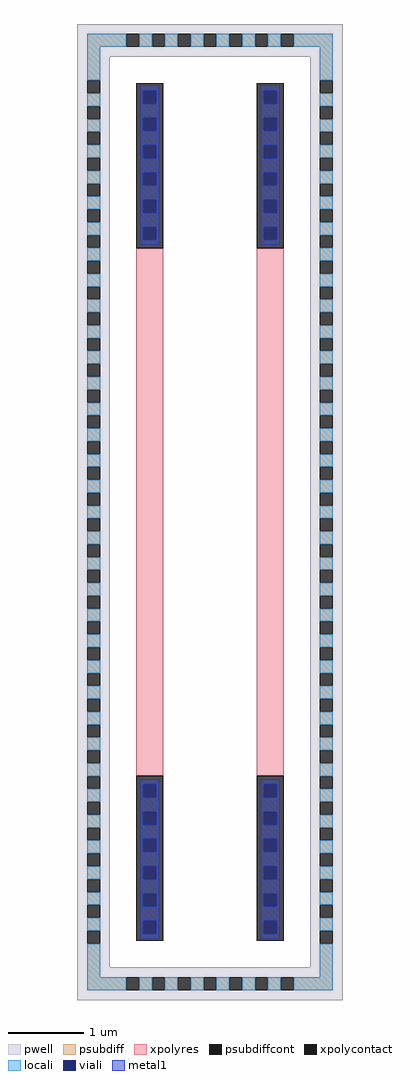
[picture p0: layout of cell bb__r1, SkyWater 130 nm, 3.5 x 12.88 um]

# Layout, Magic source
magic
tech sky130A
magscale 1 2
<< pwell >>
rect -350 1202 350 1288
rect -350 -1202 -264 1202
rect 264 -1202 350 1202
rect -350 -1288 350 -1202
<< psubdiff >>
rect -324 1228 -221 1262
rect -187 1228 -153 1262
rect -119 1228 -85 1262
rect -51 1228 -17 1262
rect 17 1228 51 1262
rect 85 1228 119 1262
rect 153 1228 187 1262
rect 221 1228 324 1262
rect -324 1139 -290 1228
rect 290 1139 324 1228
rect -324 1071 -290 1105
rect -324 1003 -290 1037
rect -324 935 -290 969
rect -324 867 -290 901
rect -324 799 -290 833
rect -324 731 -290 765
rect -324 663 -290 697
rect -324 595 -290 629
rect -324 527 -290 561
rect -324 459 -290 493
rect -324 391 -290 425
rect -324 323 -290 357
rect -324 255 -290 289
rect -324 187 -290 221
rect -324 119 -290 153
rect -324 51 -290 85
rect -324 -17 -290 17
rect -324 -85 -290 -51
rect -324 -153 -290 -119
rect -324 -221 -290 -187
rect -324 -289 -290 -255
rect -324 -357 -290 -323
rect -324 -425 -290 -391
rect -324 -493 -290 -459
rect -324 -561 -290 -527
rect -324 -629 -290 -595
rect -324 -697 -290 -663
rect -324 -765 -290 -731
rect -324 -833 -290 -799
rect -324 -901 -290 -867
rect -324 -969 -290 -935
rect -324 -1037 -290 -1003
rect -324 -1105 -290 -1071
rect 290 1071 324 1105
rect 290 1003 324 1037
rect 290 935 324 969
rect 290 867 324 901
rect 290 799 324 833
rect 290 731 324 765
rect 290 663 324 697
rect 290 595 324 629
rect 290 527 324 561
rect 290 459 324 493
rect 290 391 324 425
rect 290 323 324 357
rect 290 255 324 289
rect 290 187 324 221
rect 290 119 324 153
rect 290 51 324 85
rect 290 -17 324 17
rect 290 -85 324 -51
rect 290 -153 324 -119
rect 290 -221 324 -187
rect 290 -289 324 -255
rect 290 -357 324 -323
rect 290 -425 324 -391
rect 290 -493 324 -459
rect 290 -561 324 -527
rect 290 -629 324 -595
rect 290 -697 324 -663
rect 290 -765 324 -731
rect 290 -833 324 -799
rect 290 -901 324 -867
rect 290 -969 324 -935
rect 290 -1037 324 -1003
rect 290 -1105 324 -1071
rect -324 -1228 -290 -1139
rect 290 -1228 324 -1139
rect -324 -1262 -221 -1228
rect -187 -1262 -153 -1228
rect -119 -1262 -85 -1228
rect -51 -1262 -17 -1228
rect 17 -1262 51 -1228
rect 85 -1262 119 -1228
rect 153 -1262 187 -1228
rect 221 -1262 324 -1228
<< psubdiffcont >>
rect -221 1228 -187 1262
rect -153 1228 -119 1262
rect -85 1228 -51 1262
rect -17 1228 17 1262
rect 51 1228 85 1262
rect 119 1228 153 1262
rect 187 1228 221 1262
rect -324 1105 -290 1139
rect -324 1037 -290 1071
rect -324 969 -290 1003
rect -324 901 -290 935
rect -324 833 -290 867
rect -324 765 -290 799
rect -324 697 -290 731
rect -324 629 -290 663
rect -324 561 -290 595
rect -324 493 -290 527
rect -324 425 -290 459
rect -324 357 -290 391
rect -324 289 -290 323
rect -324 221 -290 255
rect -324 153 -290 187
rect -324 85 -290 119
rect -324 17 -290 51
rect -324 -51 -290 -17
rect -324 -119 -290 -85
rect -324 -187 -290 -153
rect -324 -255 -290 -221
rect -324 -323 -290 -289
rect -324 -391 -290 -357
rect -324 -459 -290 -425
rect -324 -527 -290 -493
rect -324 -595 -290 -561
rect -324 -663 -290 -629
rect -324 -731 -290 -697
rect -324 -799 -290 -765
rect -324 -867 -290 -833
rect -324 -935 -290 -901
rect -324 -1003 -290 -969
rect -324 -1071 -290 -1037
rect -324 -1139 -290 -1105
rect 290 1105 324 1139
rect 290 1037 324 1071
rect 290 969 324 1003
rect 290 901 324 935
rect 290 833 324 867
rect 290 765 324 799
rect 290 697 324 731
rect 290 629 324 663
rect 290 561 324 595
rect 290 493 324 527
rect 290 425 324 459
rect 290 357 324 391
rect 290 289 324 323
rect 290 221 324 255
rect 290 153 324 187
rect 290 85 324 119
rect 290 17 324 51
rect 290 -51 324 -17
rect 290 -119 324 -85
rect 290 -187 324 -153
rect 290 -255 324 -221
rect 290 -323 324 -289
rect 290 -391 324 -357
rect 290 -459 324 -425
rect 290 -527 324 -493
rect 290 -595 324 -561
rect 290 -663 324 -629
rect 290 -731 324 -697
rect 290 -799 324 -765
rect 290 -867 324 -833
rect 290 -935 324 -901
rect 290 -1003 324 -969
rect 290 -1071 324 -1037
rect 290 -1139 324 -1105
rect -221 -1262 -187 -1228
rect -153 -1262 -119 -1228
rect -85 -1262 -51 -1228
rect -17 -1262 17 -1228
rect 51 -1262 85 -1228
rect 119 -1262 153 -1228
rect 187 -1262 221 -1228
<< xpolycontact >>
rect -194 696 -124 1132
rect -194 -1132 -124 -696
rect 124 696 194 1132
rect 124 -1132 194 -696
<< xpolyres >>
rect -194 -696 -124 696
rect 124 -696 194 696
<< locali >>
rect -324 1228 -221 1262
rect -187 1228 -153 1262
rect -119 1228 -85 1262
rect -51 1228 -17 1262
rect 17 1228 51 1262
rect 85 1228 119 1262
rect 153 1228 187 1262
rect 221 1228 324 1262
rect -324 1139 -290 1228
rect 290 1139 324 1228
rect -324 1071 -290 1105
rect -324 1003 -290 1037
rect -324 935 -290 969
rect -324 867 -290 901
rect -324 799 -290 833
rect -324 731 -290 765
rect -324 663 -290 697
rect 290 1071 324 1105
rect 290 1003 324 1037
rect 290 935 324 969
rect 290 867 324 901
rect 290 799 324 833
rect 290 731 324 765
rect -324 595 -290 629
rect -324 527 -290 561
rect -324 459 -290 493
rect -324 391 -290 425
rect -324 323 -290 357
rect -324 255 -290 289
rect -324 187 -290 221
rect -324 119 -290 153
rect -324 51 -290 85
rect -324 -17 -290 17
rect -324 -85 -290 -51
rect -324 -153 -290 -119
rect -324 -221 -290 -187
rect -324 -289 -290 -255
rect -324 -357 -290 -323
rect -324 -425 -290 -391
rect -324 -493 -290 -459
rect -324 -561 -290 -527
rect -324 -629 -290 -595
rect -324 -697 -290 -663
rect 290 663 324 697
rect 290 595 324 629
rect 290 527 324 561
rect 290 459 324 493
rect 290 391 324 425
rect 290 323 324 357
rect 290 255 324 289
rect 290 187 324 221
rect 290 119 324 153
rect 290 51 324 85
rect 290 -17 324 17
rect 290 -85 324 -51
rect 290 -153 324 -119
rect 290 -221 324 -187
rect 290 -289 324 -255
rect 290 -357 324 -323
rect 290 -425 324 -391
rect 290 -493 324 -459
rect 290 -561 324 -527
rect 290 -629 324 -595
rect -324 -765 -290 -731
rect -324 -833 -290 -799
rect -324 -901 -290 -867
rect -324 -969 -290 -935
rect -324 -1037 -290 -1003
rect -324 -1105 -290 -1071
rect 290 -697 324 -663
rect 290 -765 324 -731
rect 290 -833 324 -799
rect 290 -901 324 -867
rect 290 -969 324 -935
rect 290 -1037 324 -1003
rect 290 -1105 324 -1071
rect -324 -1228 -290 -1139
rect 290 -1228 324 -1139
rect -324 -1262 -221 -1228
rect -187 -1262 -153 -1228
rect -119 -1262 -85 -1228
rect -51 -1262 -17 -1228
rect 17 -1262 51 -1228
rect 85 -1262 119 -1228
rect 153 -1262 187 -1228
rect 221 -1262 324 -1228
<< viali >>
rect -176 1078 -142 1112
rect -176 1006 -142 1040
rect -176 934 -142 968
rect -176 862 -142 896
rect -176 790 -142 824
rect -176 718 -142 752
rect 142 1078 176 1112
rect 142 1006 176 1040
rect 142 934 176 968
rect 142 862 176 896
rect 142 790 176 824
rect 142 718 176 752
rect -176 -753 -142 -719
rect -176 -825 -142 -791
rect -176 -897 -142 -863
rect -176 -969 -142 -935
rect -176 -1041 -142 -1007
rect -176 -1113 -142 -1079
rect 142 -753 176 -719
rect 142 -825 176 -791
rect 142 -897 176 -863
rect 142 -969 176 -935
rect 142 -1041 176 -1007
rect 142 -1113 176 -1079
<< metal1 >>
rect -184 1112 -134 1126
rect -184 1078 -176 1112
rect -142 1078 -134 1112
rect -184 1040 -134 1078
rect -184 1006 -176 1040
rect -142 1006 -134 1040
rect -184 968 -134 1006
rect -184 934 -176 968
rect -142 934 -134 968
rect -184 896 -134 934
rect -184 862 -176 896
rect -142 862 -134 896
rect -184 824 -134 862
rect -184 790 -176 824
rect -142 790 -134 824
rect -184 752 -134 790
rect -184 718 -176 752
rect -142 718 -134 752
rect -184 705 -134 718
rect 134 1112 184 1126
rect 134 1078 142 1112
rect 176 1078 184 1112
rect 134 1040 184 1078
rect 134 1006 142 1040
rect 176 1006 184 1040
rect 134 968 184 1006
rect 134 934 142 968
rect 176 934 184 968
rect 134 896 184 934
rect 134 862 142 896
rect 176 862 184 896
rect 134 824 184 862
rect 134 790 142 824
rect 176 790 184 824
rect 134 752 184 790
rect 134 718 142 752
rect 176 718 184 752
rect 134 705 184 718
rect -184 -719 -134 -705
rect -184 -753 -176 -719
rect -142 -753 -134 -719
rect -184 -791 -134 -753
rect -184 -825 -176 -791
rect -142 -825 -134 -791
rect -184 -863 -134 -825
rect -184 -897 -176 -863
rect -142 -897 -134 -863
rect -184 -935 -134 -897
rect -184 -969 -176 -935
rect -142 -969 -134 -935
rect -184 -1007 -134 -969
rect -184 -1041 -176 -1007
rect -142 -1041 -134 -1007
rect -184 -1079 -134 -1041
rect -184 -1113 -176 -1079
rect -142 -1113 -134 -1079
rect -184 -1126 -134 -1113
rect 134 -719 184 -705
rect 134 -753 142 -719
rect 176 -753 184 -719
rect 134 -791 184 -753
rect 134 -825 142 -791
rect 176 -825 184 -791
rect 134 -863 184 -825
rect 134 -897 142 -863
rect 176 -897 184 -863
rect 134 -935 184 -897
rect 134 -969 142 -935
rect 176 -969 184 -935
rect 134 -1007 184 -969
rect 134 -1041 142 -1007
rect 176 -1041 184 -1007
rect 134 -1079 184 -1041
rect 134 -1113 142 -1079
rect 176 -1113 184 -1079
rect 134 -1126 184 -1113
<< properties >>
string FIXED_BBOX -307 -1245 307 1245
<< end >>
